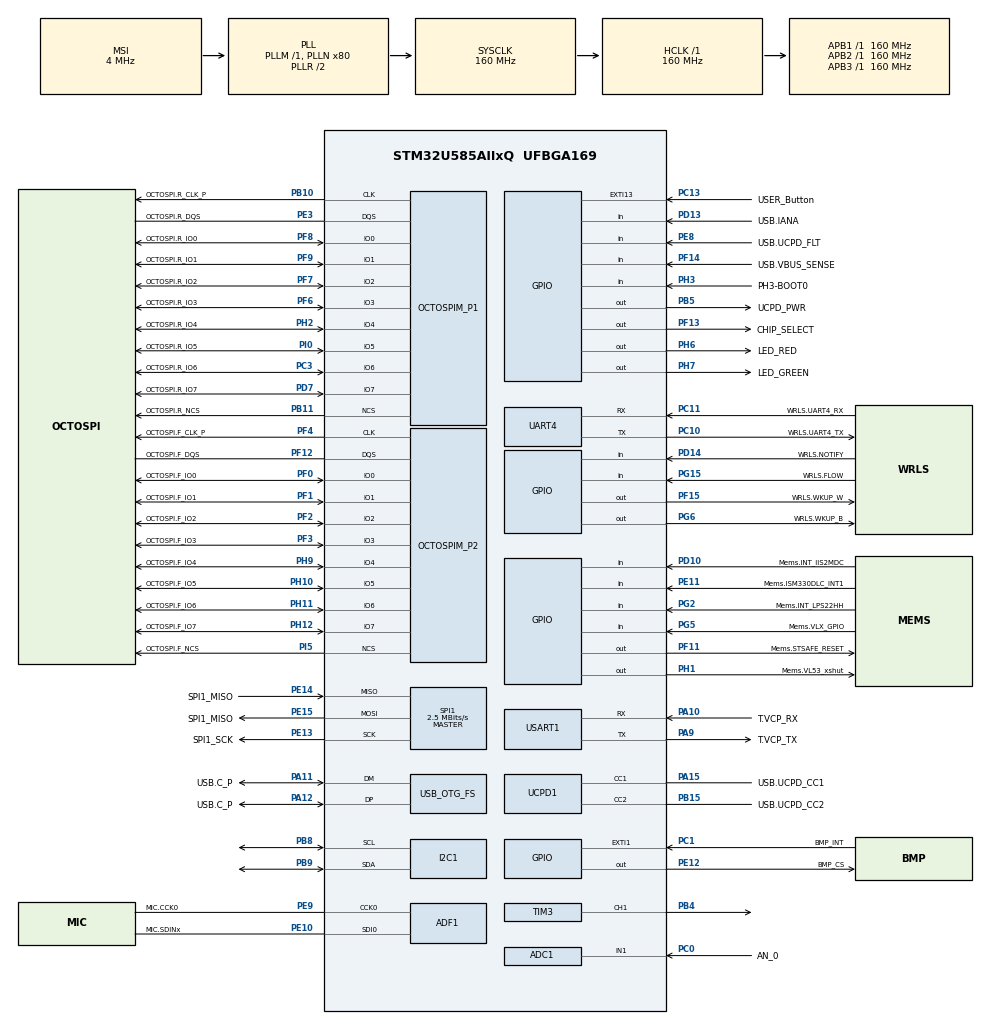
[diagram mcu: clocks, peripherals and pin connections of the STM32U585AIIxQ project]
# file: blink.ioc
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ADC1.Channel-0\#ChannelRegularConversion=ADC_CHANNEL_1
ADC1.ClockPrescaler=ADC_CLOCK_ASYNC_DIV256
ADC1.ContinuousConvMode=ENABLE
ADC1.EnableAnalogWatchDog1=false
ADC1.EnableRegularConversion=ENABLE
ADC1.MonitoredBy-0\#ChannelRegularConversion=__NULL
ADC1.NbrOfConversion=1
ADC1.NbrOfConversionFlag=1
ADC1.OffsetNumber-0\#ChannelRegularConversion=ADC_OFFSET_NONE
ADC1.Rank-0\#ChannelRegularConversion=1
ADC1.Resolution=ADC_RESOLUTION_14B
ADC1.SamplingTime-0\#ChannelRegularConversion=ADC_SAMPLETIME_5CYCLE
ADC1.TriggerFrequencyMode=ADC_TRIGGER_FREQ_LOW
ADC1.master=1
CORTEX_M33_NS.userName=CORTEX_M33
I2C1.Timing=0x30909DEC
Mcu.Family=STM32U5
Mcu.Name=STM32U585AIIxQ
Mcu.Package=UFBGA169
NVIC.EXTI13_IRQn=true\:0\:0\:false\:false\:true\:true\:true\:true
NVIC.EXTI1_IRQn=true\:0\:0\:false\:false\:true\:true\:true\:true
NVIC.PriorityGroup=NVIC_PRIORITYGROUP_4
NVIC.TIM3_IRQn=true\:0\:0\:false\:false\:true\:true\:true\:true
OCTOSPI1.ChipSelectBoundary=10
OCTOSPI1.ClockPrescaler=2
OCTOSPI1.DelayBlockBypass=HAL_OSPI_DELAY_BLOCK_USED
OCTOSPI1.DelayHoldQuarterCycle=HAL_OSPI_DHQC_ENABLE
OCTOSPI1.DeviceSize=23
OCTOSPI1.MemoryType=HAL_OSPI_MEMTYPE_APMEMORY
OCTOSPI1.Refresh=100
OCTOSPI2.ChipSelectBoundary=0
OCTOSPI2.ChipSelectHighTime=2
OCTOSPI2.ClockPrescaler=4
OCTOSPI2.DelayBlockBypass=HAL_OSPI_DELAY_BLOCK_USED
OCTOSPI2.DelayHoldQuarterCycle=HAL_OSPI_DHQC_ENABLE
OCTOSPI2.DeviceSize=26
OCTOSPI2.FifoThreshold=4
OCTOSPI2.MemoryType=HAL_OSPI_MEMTYPE_MACRONIX
PA10.GPIO_Label=T.VCP_RX
PA10.Mode=Asynchronous
PA10.Signal=USART1_RX
PA11.GPIO_Label=USB.C_P
PA11.Mode=Device_Only
PA11.Signal=USB_OTG_FS_DM
PA12.GPIO_Label=USB.C_P
PA12.Mode=Device_Only
PA12.Signal=USB_OTG_FS_DP
PA13\ (JTMS/SWDIO).GPIO_Label=T.SWDIO
PA13\ (JTMS/SWDIO).Mode=Trace_Asynchronous_SW
PA13\ (JTMS/SWDIO).Signal=DEBUG_JTMS-SWDIO
PA14\ (JTCK/SWCLK).GPIO_Label=T.SWCLK
PA14\ (JTCK/SWCLK).Mode=Trace_Asynchronous_SW
PA14\ (JTCK/SWCLK).Signal=DEBUG_JTCK-SWCLK
PA15\ (JTDI).GPIO_Label=USB.UCPD_CC1
PA15\ (JTDI).Mode=Dual_Role_AllSignals
PA15\ (JTDI).Signal=UCPD1_CC1
PA9.GPIO_Label=T.VCP_TX
PA9.Mode=Asynchronous
PA9.Signal=USART1_TX
PB1.GPIO_Label=MIC.SDIN0
PB1.Signal=MDF1_SDI0
PB10.GPIO_Label=OCTOSPI.R_CLK_P
PB10.Mode=O1_P1_CLK
PB10.Signal=OCTOSPIM_P1_CLK
PB11.GPIO_Label=OCTOSPI.R_NCS
PB11.Mode=OCTOSPI1_Port1_NCS
PB11.Signal=OCTOSPIM_P1_NCS
PB12.GPIO_Label=WRLS.SPI2_NSS
PB12.Signal=SPI2_NSS
PB15.GPIO_Label=USB.UCPD_CC2
PB15.Mode=Dual_Role_AllSignals
PB15.Signal=UCPD1_CC2
PB3\ (JTDO/TRACESWO).GPIO_Label=T.SWO
PB3\ (JTDO/TRACESWO).Mode=Trace_Asynchronous_SW
PB3\ (JTDO/TRACESWO).Signal=DEBUG_JTDO-SWO
PB4\ (NJTRST).Signal=S_TIM3_CH1
PB5.GPIO_Label=UCPD_PWR
PB5.Signal=GPIO_Output
PB8.GPIO_Pu=GPIO_NOPULL
PB8.Mode=I2C
PB8.Signal=I2C1_SCL
PB9.Mode=I2C
PB9.Signal=I2C1_SDA
PC0.GPIO_Label=AN_0
PC0.GPIO_PuPd=GPIO_NOPULL
PC0.Mode=IN1-Single-Ended
PC0.Signal=ADC1_IN1
PC1.GPIO_Label=BMP_INT
PC1.Signal=GPXTI1
PC10.GPIO_Label=WRLS.UART4_TX
PC10.Mode=Asynchronous
PC10.Signal=UART4_TX
PC11.GPIO_Label=WRLS.UART4_RX
PC11.Mode=Asynchronous
PC11.Signal=UART4_RX
PC13.GPIO_Label=USER_Button
PC13.Signal=GPXTI13
PC14-OSC32_IN\ (PC14).GPIO_Label=PC14-OSC32_IN
PC14-OSC32_IN\ (PC14).Mode=LSE-External-Oscillator
PC14-OSC32_IN\ (PC14).Signal=RCC_OSC32_IN
PC15-OSC32_OUT\ (PC15).GPIO_Label=PC15-OSC32_OUT
PC15-OSC32_OUT\ (PC15).Mode=LSE-External-Oscillator
PC15-OSC32_OUT\ (PC15).Signal=RCC_OSC32_OUT
PC3.GPIO_Label=OCTOSPI.R_IO6
PC3.Mode=OCTOSPI1_IOH_Port1H
PC3.Signal=OCTOSPIM_P1_IO6
PD1.GPIO_Label=WRLS.SPI2_SCK
PD1.Signal=SPI2_SCK
PD10.GPIO_Label=Mems.INT_IIS2MDC
PD10.Signal=GPIO_Input
PD13.GPIO_Label=USB.IANA
PD13.Signal=GPIO_Input
PD14.GPIO_Label=WRLS.NOTIFY
PD14.Signal=GPIO_Input
PD4.GPIO_Label=WRLS.SPI2_MOSI
PD4.Signal=SPI2_MOSI
PD7.GPIO_Label=OCTOSPI.R_IO7
PD7.Mode=OCTOSPI1_IOH_Port1H
PD7.Signal=OCTOSPIM_P1_IO7
PE10.GPIO_Label=MIC.SDINx
PE10.Mode=MOD_ADF_CCK
PE10.Signal=ADF1_SDI0
PE11.GPIO_Label=Mems.ISM330DLC_INT1
PE11.Signal=GPIO_Input
PE12.GPIO_Label=BMP_CS
PE12.GPIO_PuPd=GPIO_PULLUP
PE12.PinState=GPIO_PIN_SET
PE12.Signal=GPIO_Output
PE13.GPIO_Label=SPI1_SCK
PE13.Mode=Full_Duplex_Master
PE13.Signal=SPI1_SCK
PE14.GPIO_Label=SPI1_MISO
PE14.Mode=Full_Duplex_Master
PE14.Signal=SPI1_MISO
PE15.GPIO_Label=SPI1_MISO
PE15.Mode=Full_Duplex_Master
PE15.Signal=SPI1_MOSI
PE3.GPIO_Label=OCTOSPI.R_DQS
PE3.Mode=OCTOSPI1_Port1_DQS
PE3.Signal=OCTOSPIM_P1_DQS
PE8.GPIO_Label=USB.UCPD_FLT
PE8.Signal=GPIO_Input
PE9.GPIO_Label=MIC.CCK0
PE9.Mode=MOD_MDF_CCK0
PE9.Signal=ADF1_CCK0
PF0.GPIO_Label=OCTOSPI.F_IO0
PF0.Mode=OCTOSPI2_IOL_Port2L
PF0.Signal=OCTOSPIM_P2_IO0
PF1.GPIO_Label=OCTOSPI.F_IO1
PF1.Mode=OCTOSPI2_IOL_Port2L
PF1.Signal=OCTOSPIM_P2_IO1
PF10.GPIO_Label=MIC.CCK1
PF10.Signal=MDF1_CCK1
PF11.GPIO_Label=Mems.STSAFE_RESET
PF11.Signal=GPIO_Output
PF12.GPIO_Label=OCTOSPI.F_DQS
PF12.Mode=OCTOSPI2_Port2_DQS
PF12.Signal=OCTOSPIM_P2_DQS
PF13.GPIO_Label=CHIP_SELECT
PF13.GPIO_PuPd=GPIO_PULLUP
PF13.PinState=GPIO_PIN_SET
PF13.Signal=GPIO_Output
PF14.GPIO_Label=USB.VBUS_SENSE
PF14.Signal=GPIO_Input
PF15.GPIO_Label=WRLS.WKUP_W
PF15.Signal=GPIO_Output
PF2.GPIO_Label=OCTOSPI.F_IO2
PF2.Mode=OCTOSPI2_IOL_Port2L
PF2.Signal=OCTOSPIM_P2_IO2
PF3.GPIO_Label=OCTOSPI.F_IO3
PF3.Mode=OCTOSPI2_IOL_Port2L
PF3.Signal=OCTOSPIM_P2_IO3
PF4.GPIO_Label=OCTOSPI.F_CLK_P
PF4.Mode=O2_P2_CLK
PF4.Signal=OCTOSPIM_P2_CLK
PF6.GPIO_Label=OCTOSPI.R_IO3
PF6.Mode=OCTOSPI1_IOL_Port1L
PF6.Signal=OCTOSPIM_P1_IO3
PF7.GPIO_Label=OCTOSPI.R_IO2
PF7.Mode=OCTOSPI1_IOL_Port1L
PF7.Signal=OCTOSPIM_P1_IO2
PF8.GPIO_Label=OCTOSPI.R_IO0
PF8.Mode=OCTOSPI1_IOL_Port1L
PF8.Signal=OCTOSPIM_P1_IO0
PF9.GPIO_Label=OCTOSPI.R_IO1
PF9.Mode=OCTOSPI1_IOL_Port1L
PF9.Signal=OCTOSPIM_P1_IO1
PG15.GPIO_Label=WRLS.FLOW
PG15.Signal=GPIO_Input
PG2.GPIO_Label=Mems.INT_LPS22HH
PG2.Signal=GPIO_Input
PG5.GPIO_Label=Mems.VLX_GPIO
PG5.Signal=GPIO_Input
PG6.GPIO_Label=WRLS.WKUP_B
PG6.Signal=GPIO_Output
PH1-OSC_OUT\ (PH1).GPIO_Label=Mems.VL53_xshut
PH1-OSC_OUT\ (PH1).Signal=GPIO_Output
PH10.GPIO_Label=OCTOSPI.F_IO5
PH10.Mode=OCTOSPI2_IOH_Port2H
PH10.Signal=OCTOSPIM_P2_IO5
PH11.GPIO_Label=OCTOSPI.F_IO6
PH11.Mode=OCTOSPI2_IOH_Port2H
PH11.Signal=OCTOSPIM_P2_IO6
PH12.GPIO_Label=OCTOSPI.F_IO7
PH12.Mode=OCTOSPI2_IOH_Port2H
PH12.Signal=OCTOSPIM_P2_IO7
PH2.GPIO_Label=OCTOSPI.R_IO4
PH2.Mode=OCTOSPI1_IOH_Port1H
PH2.Signal=OCTOSPIM_P1_IO4
PH3-BOOT0.GPIO_Label=PH3-BOOT0
PH3-BOOT0.Signal=GPIO_Input
PH4.Signal=I2C2_SCL
PH5.Signal=I2C2_SDA
PH6.GPIO_Label=LED_RED
PH6.Signal=GPIO_Output
PH7.GPIO_Label=LED_GREEN
PH7.Signal=GPIO_Output
PH9.GPIO_Label=OCTOSPI.F_IO4
PH9.Mode=OCTOSPI2_IOH_Port2H
PH9.Signal=OCTOSPIM_P2_IO4
PI0.GPIO_Label=OCTOSPI.R_IO5
PI0.Mode=OCTOSPI1_IOH_Port1H
PI0.Signal=OCTOSPIM_P1_IO5
PI5.GPIO_Label=OCTOSPI.F_NCS
PI5.Mode=OCTOSPI2_Port2_NCS
PI5.Signal=OCTOSPIM_P2_NCS
PWR.PowerMode=PWR_SMPS_SUPPLY
ProjectManager.HeapSize=0x200
ProjectManager.StackSize=0x400
ProjectManager.TargetToolchain=STM32CubeIDE
RCC.ADCFreq_Value=16000000
RCC.AHBFreq_Value=160000000
RCC.APB1Freq_Value=160000000
RCC.APB1TimFreq_Value=160000000
RCC.APB2Freq_Value=160000000
RCC.APB2TimFreq_Value=160000000
RCC.APB3Freq_Value=160000000
RCC.CortexFreq_Value=160000000
RCC.DACCLockSelectionVirtual=RCC_DAC1CLKSOURCE_LSI
RCC.EPOD_VALUE=4000000
RCC.HCLKFreq_Value=160000000
RCC.HSE_VALUE=16000000
RCC.HSI48_VALUE=48000000
RCC.HSI_VALUE=16000000
RCC.LSIDIV_VALUE=32000
RCC.MSI_VALUE=4000000
RCC.PLLN=80
RCC.SYSCLKFreq_VALUE=160000000
RCC.SYSCLKSource=RCC_SYSCLKSOURCE_PLLCLK
RCC.USBFreq_Value=48000000
RCC.VCOOutputFreq_Value=320000000
SH.S_TIM3_CH1.0=TIM3_CH1,PWM Generation1 CH1
SPI1.BaudRatePrescaler=SPI_BAUDRATEPRESCALER_64
SPI1.CalculateBaudRate=2.5 MBits/s
SPI1.DataSize=SPI_DATASIZE_8BIT
SPI1.Direction=SPI_DIRECTION_2LINES
SPI1.FifoThreshold=SPI_FIFO_THRESHOLD_01DATA
SPI1.MasterInterDataIdleness=SPI_MASTER_INTERDATA_IDLENESS_01CYCLE
SPI1.MasterSSIdleness=SPI_MASTER_SS_IDLENESS_01CYCLE
SPI1.Mode=SPI_MODE_MASTER
SPI1.NSSPMode=SPI_NSS_PULSE_DISABLE
SPI1.NSSPolarity=SPI_NSS_POLARITY_HIGH
SPI1.VirtualType=VM_MASTER
TIM3.Channel-PWM\ Generation1\ CH1=TIM_CHANNEL_1
TIM3.PeriodNoDither=160000
USART1.VirtualMode-Asynchronous=VM_ASYNC
USB_OTG_FS.VirtualMode=Device_Only
VP_ADC1_Vref_Input.Mode=IN-Vrefint
VP_ICACHE_VS_ICACHE.Mode=DirectMappedCache
VP_LPBAMQUEUE_VS_QUEUE.Mode=QUEUEMODE
VP_LPBAM_VS_SIG1.Mode=SmartRun
VP_LPBAM_VS_SIG4.Mode=LPDMA1
VP_MEMORYMAP_VS_MEMORYMAP.Mode=CurAppReg
VP_OCTOSPI1_VS_octo.Mode=octo_mode
VP_OCTOSPI2_VS_octo.Mode=octo_mode
VP_PWR_VS_DBSignals.Mode=DisableDeadBatterySignals
VP_PWR_VS_LPOM.Mode=PowerOptimisation
VP_PWR_VS_SECSignals.Mode=Security/Privilege
VP_PWR_Vdda.Mode=isolationVdda
VP_TIM3_VS_ClockSourceINT.Mode=Internal
board=B-U585I-IOT02A

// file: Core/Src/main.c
/* USER CODE BEGIN Header */
/**
  ******************************************************************************
  * @file           : main.c
  * @brief          : Main program body
  ******************************************************************************
  * @attention
  *
  * Copyright (c) 2025 STMicroelectronics.
  * All rights reserved.
  *
  * This software is licensed under terms that can be found in the LICENSE file
  * in the root directory of this software component.
  * If no LICENSE file comes with this software, it is provided AS-IS.
  *
  ******************************************************************************
  */
/* USER CODE END Header */
#include "main.h"
#include "adc.h"
#include "mdf.h"
#include "i2c.h"
#include "icache.h"
#include "memorymap.h"
#include "octospi.h"
#include "spi.h"
#include "tim.h"
#include "usart.h"
#include "ucpd.h"
#include "usb_otg.h"
#include "gpio.h"

/* USER CODE BEGIN Includes */
#include "loging.h"
#include "microrl.h"
#include <stdio.h>
#include <string.h>
#include <stdlib.h>
#include "stm32u5xx_hal.h"
#include "stm32u5xx_hal_uart.h"
#include "cli_commands.h"
#include "lux.h"
/* USER CODE END Includes */

/* USER CODE BEGIN PD */
#define DEBOUNCE_DELAY 50 //ms
#define PULSE_STEP  21000L
#define PULSE_MAX  160000L
#define PULSE_MIN       0L
/* USER CODE END PD */

/* USER CODE BEGIN PV */
static UART_HandleTypeDef huart;//uart interface
static SPI_HandleTypeDef hspi;//spi interface

static microrl_t mcon; //command line interface
static lux_t lux1 = {
        .ADD = ADDRESS,
        .RN = RANGE,
        .CT = CONVERSION_TIME,
        .M = CONVERSION_MODE,
        .OVF = 0,
        .CRF = 0,
        .FH = 0,
        .FL = 0,
        .L = LATCH,
        .POL = POLARITY,
        .ME = MASK_EXPONENT,
        .FC = FAULT_COUNT
};

static bmp_t bmp1 = {
       .hspi        = &hspi,
       .ChipName    = {"BMP390"},
       .CHIP_ID     = 0,
       .REV_ID      = 0,
       .ERR_REG     = 0,
       .DRDY_TEMP   = 0,
       .DRDY_PRESS  = 0,
       .CRDY        = 0,
       .PDATA       = 0,
       .TDATA       = 0,
       .SENSORTIME  = 0,
       .EVENT       = 0,
       .INT_STATUS  = 0,
       .FIFO_LENGTH = 0,
       .FIFO_DATA   = 0,
       .FIFO_WTM    = DEF_WTM,
       .FIFO_TEMP_EN    = DEF_FIFO_TEMP_EN,
       .FIFO_PRESS_EN   = DEF_FIFO_PRESS_EN,
       .FIFO_TIME_EN    = DEF_FIFO_TIME_EN,
       .FIFO_STOP_OF    = DEF_FIFO_STOP_OF,
       .FIFO_MODE   = DEF_FIFO_MODE,
       .DATA_SEL    = DEF_DATA_SELECT,
       .FIFO_SBSMP  = DEF_FIFO_SUBSAMPLING,
       .DRDY_EN     = DEF_DRDY_EN,
       .INT_DS      = DEF_INT_DS,
       .FULL_EN     = DEF_FULL_EN,
       .FWTM_EN     = DEF_FWTM_EN,
       .INT_LATCH   = DEF_INT_LATCH,
       .INT_LVL     = DEF_INT_LVL,
       .INT_OD      = DEF_INT_OD,
       .I2C_WDT_S   = DEF_I2C_WDT_S,
       .I2C_WDT_EN  = DEF_I2C_WDT_EN,
       .SPI3_M      = DEF_SPI3_M,
       .PW_MODE     = DEF_PWR_MODE,
       .PW_TEMP     = DEF_PW_TEMP,
       .PW_PRESS    = DEF_PW_PRESS,
       .OSRT        = DEF_OSRT,
       .OSRP        = DEF_OSRP,
       .ODR         = DEF_ODR,
       .CONFIG      = DEF_CONFIG,
       .CMD         = 0
};

/* USER CODE END PV */

void SystemClock_Config(void);
static void SystemPower_Config(void);
/* USER CODE BEGIN PFP */
int execute (int argc, const char * const * argv);
void sigint (void);
/* USER CODE END PFP */

int main(void)
{

  /* MCU Configuration--------------------------------------------------------*/

  /* Reset of all peripherals, Initializes the Flash interface and the Systick. */
  HAL_Init();

  /* Configure the System Power */
  SystemPower_Config();

  /* Configure the system clock */
  SystemClock_Config();

  /* Initialize all configured peripherals */
  MX_GPIO_Init();
  MX_ADF1_Init();
  MX_I2C1_Init();
  MX_ICACHE_Init();
  MX_OCTOSPI1_Init();
  MX_OCTOSPI2_Init();
  MX_UART4_Init();
  MX_USART1_UART_Init();
  MX_UCPD1_Init();
  MX_USB_OTG_FS_PCD_Init();
  MX_TIM3_Init();
  MX_ADC1_Init();
  MX_SPI1_Init();
  /* USER CODE BEGIN 2 */
  huart = UartInit(1);
  hspi = SpiInit(1);
//========================================================================Microrl=============================
  microrl_init(&mcon, print);
  microrl_set_execute_callback (&mcon, execute);
  microrl_set_sigint_callback (&mcon, sigint);
//==========================================================================================================
  HAL_GPIO_WritePin(LED_RED_GPIO_Port, LED_RED_Pin, GPIO_PIN_SET);
  HAL_GPIO_WritePin(LED_GREEN_GPIO_Port, LED_GREEN_Pin, GPIO_PIN_SET);
  HAL_GPIO_WritePin(CHIP_SELECT_GPIO_Port, CHIP_SELECT_Pin, GPIO_PIN_SET);
  HAL_GPIO_WritePin(SWITCH_Port, SWITCH_Pin, GPIO_PIN_SET);
  TIM3_PeriodSet(80000);
  HAL_TIM_PWM_Start_IT(&htim3, TIM_CHANNEL_1);
  HAL_ADC_Start(&hadc1);
  //luxInit(&lux1);
  bmpInit(&bmp1);
  /* USER CODE END 2 */

  /* Infinite loop */
  /* USER CODE BEGIN WHILE */
  while (1)
  {
      uint8_t cChar;
      cChar = get_char();
      //UartSendString(&cChar, huart);
      microrl_insert_char (&mcon, cChar);
    /* USER CODE END WHILE */

  }
}

void SystemClock_Config(void)
{
  RCC_OscInitTypeDef RCC_OscInitStruct = {0};
  RCC_ClkInitTypeDef RCC_ClkInitStruct = {0};

  /** Configure the main internal regulator output voltage
  */
  if (HAL_PWREx_ControlVoltageScaling(PWR_REGULATOR_VOLTAGE_SCALE1) != HAL_OK)
  {
    Error_Handler();
  }

  /** Initializes the CPU, AHB and APB buses clocks
  */
  RCC_OscInitStruct.OscillatorType = RCC_OSCILLATORTYPE_HSI48|RCC_OSCILLATORTYPE_HSI
                              |RCC_OSCILLATORTYPE_MSI;
  RCC_OscInitStruct.HSIState = RCC_HSI_ON;
  RCC_OscInitStruct.HSI48State = RCC_HSI48_ON;
  RCC_OscInitStruct.HSICalibrationValue = RCC_HSICALIBRATION_DEFAULT;
  RCC_OscInitStruct.MSIState = RCC_MSI_ON;
  RCC_OscInitStruct.MSICalibrationValue = RCC_MSICALIBRATION_DEFAULT;
  RCC_OscInitStruct.MSIClockRange = RCC_MSIRANGE_4;
  RCC_OscInitStruct.PLL.PLLState = RCC_PLL_ON;
  RCC_OscInitStruct.PLL.PLLSource = RCC_PLLSOURCE_MSI;
  RCC_OscInitStruct.PLL.PLLMBOOST = RCC_PLLMBOOST_DIV1;
  RCC_OscInitStruct.PLL.PLLM = 1;
  RCC_OscInitStruct.PLL.PLLN = 80;
  RCC_OscInitStruct.PLL.PLLP = 2;
  RCC_OscInitStruct.PLL.PLLQ = 2;
  RCC_OscInitStruct.PLL.PLLR = 2;
  RCC_OscInitStruct.PLL.PLLRGE = RCC_PLLVCIRANGE_0;
  RCC_OscInitStruct.PLL.PLLFRACN = 0;
  if (HAL_RCC_OscConfig(&RCC_OscInitStruct) != HAL_OK)
  {
    Error_Handler();
  }

  /** Initializes the CPU, AHB and APB buses clocks
  */
  RCC_ClkInitStruct.ClockType = RCC_CLOCKTYPE_HCLK|RCC_CLOCKTYPE_SYSCLK
                              |RCC_CLOCKTYPE_PCLK1|RCC_CLOCKTYPE_PCLK2
                              |RCC_CLOCKTYPE_PCLK3;
  RCC_ClkInitStruct.SYSCLKSource = RCC_SYSCLKSOURCE_PLLCLK;
  RCC_ClkInitStruct.AHBCLKDivider = RCC_SYSCLK_DIV1;
  RCC_ClkInitStruct.APB1CLKDivider = RCC_HCLK_DIV1;
  RCC_ClkInitStruct.APB2CLKDivider = RCC_HCLK_DIV1;
  RCC_ClkInitStruct.APB3CLKDivider = RCC_HCLK_DIV1;

  if (HAL_RCC_ClockConfig(&RCC_ClkInitStruct, FLASH_LATENCY_4) != HAL_OK)
  {
    Error_Handler();
  }
}

/**
  * @brief Power Configuration
  * @retval None
  */
static void SystemPower_Config(void)
{
  HAL_PWREx_EnableVddIO2();

  /*
   * Switch to SMPS regulator instead of LDO
   */
  if (HAL_PWREx_ConfigSupply(PWR_SMPS_SUPPLY) != HAL_OK)
  {
    Error_Handler();
  }
}

/* USER CODE BEGIN 4 */
//==================================================================Interrupts
//Timer interrupt every 1 ms
void HAL_TIM_PeriodElapsedCallback(TIM_HandleTypeDef* htim)
{
}

void HAL_TIM_OC_DelayElapsedCallback(TIM_HandleTypeDef *htim)
{
    if(htim->Instance == TIM3)
        {
            HAL_GPIO_WritePin(LED_RED_GPIO_Port, LED_RED_Pin, GPIO_PIN_RESET);
        }
}
//
void HAL_TIM_PWM_PulseFinishedCallback(TIM_HandleTypeDef *htim)
{
    if(htim->Instance == TIM3)
    {
        HAL_GPIO_WritePin(LED_RED_GPIO_Port, LED_RED_Pin, GPIO_PIN_SET);
    }
}
void HAL_GPIO_EXTI_Rising_Callback(uint16_t GPIO_Pin)
{
    if (HAL_GPIO_ReadPin(BMP_INT_GPIO_Port, BMP_INT_Pin)) readPressure(&bmp1);
}

//==========================================================================================================
void print (const char * str)
{
    if (HAL_UART_Transmit(&huart, (const uint8_t*)str, strlen(str), 10) != HAL_OK)
    {
        Error_Handler();
    }
}
int execute (int argc, const char * const * argv)
{
    int i = 0;
    print ("\n");
    // just iterate through argv word and compare it with your commands
    while (i < argc)
    {
        if (strcmp (argv[i], _CMD_HELP) == 0)
        {
            cmdHelp();
        }
        else if (strcmp (argv[i], _CMD_CLEAR) == 0)
        {
            cmdClear();
        }
        else if (strcmp (argv[i], _CMD_LED_ON) == 0)
        {
            cmdLedon();
        }
        else if (strcmp (argv[i], _CMD_LED_OFF) == 0)
        {
            cmdLedoff();
        }
        else if (strcmp (argv[i], _CMD_SET_BRIGHTNESS) == 0)
        {
            if ((++i) < argc) cmdSetBrightness(argv[i]);
            else cmdSetBrightness("0");
        }
        else if (strcmp (argv[i], _CMD_ADC_GET) == 0)
        {
            if ((++i) < argc) cmdADCGet(argv[i]);
            else cmdADCGet("-1");
        }
        else if (strcmp(argv[i], _CMD_ADC_STATUS) == 0)
        {
            cmdADCGetStatus();
        }
        else if (strcmp(argv[i], _CMD_OPT_READ) == 0)
        {
            if ((++i) < argc) cmdOptRead(&lux1, argv[i]);
            else cmdOptRead(&lux1, "0");
        }
        else if (strcmp(argv[i], _CMD_BMP_READ) == 0)
        {
            if ((++i) < argc) cmdBmpReadPress(&bmp1, argv[i]);
            else cmdBmpReadPress(&bmp1, "0");
        }
        else if (strcmp(argv[i], _CMD_CHIP_ID) == 0)
        {
            cmdChipIdRead(&bmp1);
        }
        else if (strcmp(argv[i], _CMD_BMP_READ_PRESS_INT) == 0)
        {
            cmdBmpReadPressInt(&bmp1);
        }
        else if (strcmp(argv[i], _CMD_BMP_RESET) == 0)
        {
            cmdReset(&bmp1);
        }
        else if (strcmp(argv[i], _CMD_BMP_READ_ALL) == 0)
        {
            cmdReadAll(&bmp1);
        }
        else if (strcmp(argv[i], _CMD_BMP_READ_CONFIG) == 0)
        {
            cmdReadConfig(&bmp1);
        }
        else if (strcmp(argv[i], _CMD_BMP_READ_INT_CTRL) == 0)
        {
            cmdReadIntCtrl(&bmp1);
        }
        else if (strcmp(argv[i], _CMD_BMP_SET_CONFIG) == 0)
        {
            cmdSetConfig(&bmp1);
        }
        else if (strcmp (argv[i], _CMD_BMP_WRITE_BYTE) == 0)
        {
            cmdWriteByte(&bmp1, argv[++i], argv[++i]);
        }
        else if (strcmp (argv[i], _CMD_BMP_READ_BYTE) == 0)
        {
            cmdReadByte(&bmp1, argv[++i]);
        }
        else if (strcmp (argv[i], _CMD_BMP_READ_CALIBRATION) == 0)
        {
            cmdReadCalibration(&bmp1);
        }
        else
        {
            print ("command: '");
            print ((char*)argv[i]);
            print ("' Not found.\n\r");
        }
        i++;
    }
    return 0;
}
unsigned char get_char (void)
{
    uint8_t symb;
    if (HAL_UART_Receive(&huart, &symb, 1, 10) != HAL_OK)
    {
        Error_Handler();
    }
    return (symb);
}
void sigint (void)
{
    print ("^C catched!\n\r");
}

//==========================================================================================================
/* USER CODE END 4 */

void Error_Handler(void)
{
  /* USER CODE BEGIN Error_Handler_Debug */
  /* User can add his own implementation to report the HAL error return state */
//  __disable_irq();
//  while (1)
//  {
//  }

  /* USER CODE END Error_Handler_Debug */
}
